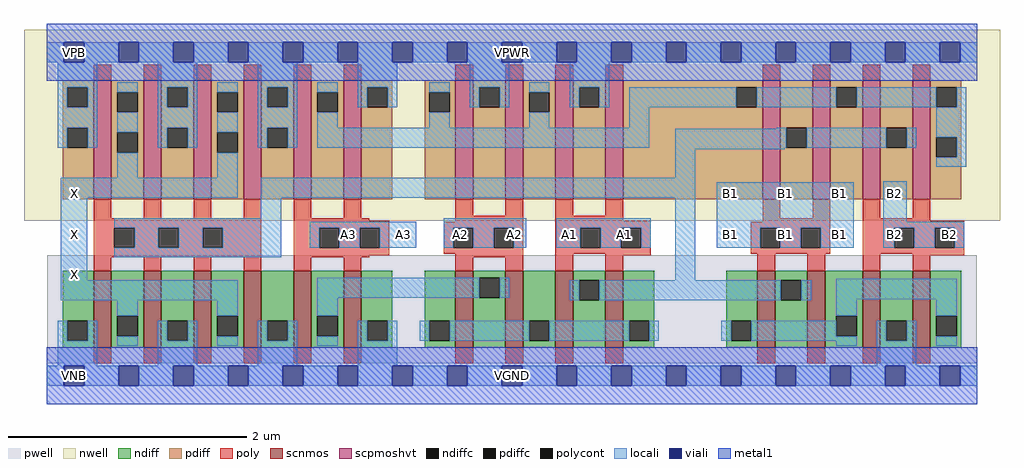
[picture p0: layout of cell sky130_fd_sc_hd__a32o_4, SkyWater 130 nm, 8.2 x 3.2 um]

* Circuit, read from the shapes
.subckt sky130_fd_sc_hd__a32o_4 A1 A2 A3 B1 B2 VGND VNB VPB VPWR X
XM1 X n1 VGND VNB sky130_fd_pr__nfet_01v8 w=0.65 l=0.15 m=4
XM2 n2 A3 VGND VNB sky130_fd_pr__nfet_01v8 w=0.65 l=0.15 m=2
XM3 n2 A2 n3 VNB sky130_fd_pr__nfet_01v8 w=0.65 l=0.15 m=2
XM4 n1 A1 n3 VNB sky130_fd_pr__nfet_01v8 w=0.65 l=0.15 m=2
XM5 n1 B1 n4 VNB sky130_fd_pr__nfet_01v8 w=0.65 l=0.15 m=2
XM6 VGND B2 n4 VNB sky130_fd_pr__nfet_01v8 w=0.65 l=0.15 m=2
XM7 X n1 VPWR VPB sky130_fd_pr__pfet_01v8_hvt w=1 l=0.15 m=4
XM8 n5 A3 VPWR VPB sky130_fd_pr__pfet_01v8_hvt w=1 l=0.15 m=2
XM9 VPWR A2 n5 VPB sky130_fd_pr__pfet_01v8_hvt w=1 l=0.15 m=2
XM10 VPWR A1 n5 VPB sky130_fd_pr__pfet_01v8_hvt w=1 l=0.15 m=2
XM11 n1 B1 n5 VPB sky130_fd_pr__pfet_01v8_hvt w=1 l=0.15 m=2
XM12 n1 B2 n5 VPB sky130_fd_pr__pfet_01v8_hvt w=1 l=0.15 m=2
.ends

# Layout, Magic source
magic
tech sky130A
magscale 1 2
<< nwell >>
rect -38 261 1602 582
<< pwell >>
rect 1 21 1563 203
rect 30 -17 64 21
<< scnmos >>
rect 79 47 109 177
rect 163 47 193 177
rect 247 47 277 177
rect 331 47 361 177
rect 415 47 445 177
rect 499 47 529 177
rect 687 47 717 177
rect 771 47 801 177
rect 855 47 885 177
rect 939 47 969 177
rect 1194 47 1224 177
rect 1278 47 1308 177
rect 1371 47 1401 177
rect 1455 47 1485 177
<< scpmoshvt >>
rect 79 297 109 497
rect 163 297 193 497
rect 247 297 277 497
rect 331 297 361 497
rect 415 297 445 497
rect 499 297 529 497
rect 687 297 717 497
rect 771 297 801 497
rect 855 297 885 497
rect 939 297 969 497
rect 1203 297 1233 497
rect 1287 297 1317 497
rect 1371 297 1401 497
rect 1455 297 1485 497
<< ndiff >>
rect 27 93 79 177
rect 27 59 35 93
rect 69 59 79 93
rect 27 47 79 59
rect 109 101 163 177
rect 109 67 119 101
rect 153 67 163 101
rect 109 47 163 67
rect 193 93 247 177
rect 193 59 203 93
rect 237 59 247 93
rect 193 47 247 59
rect 277 101 331 177
rect 277 67 287 101
rect 321 67 331 101
rect 277 47 331 67
rect 361 93 415 177
rect 361 59 371 93
rect 405 59 415 93
rect 361 47 415 59
rect 445 101 499 177
rect 445 67 455 101
rect 489 67 499 101
rect 445 47 499 67
rect 529 93 581 177
rect 529 59 539 93
rect 573 59 581 93
rect 529 47 581 59
rect 635 93 687 177
rect 635 59 643 93
rect 677 59 687 93
rect 635 47 687 59
rect 717 165 771 177
rect 717 131 727 165
rect 761 131 771 165
rect 717 47 771 131
rect 801 93 855 177
rect 801 59 811 93
rect 845 59 855 93
rect 801 47 855 59
rect 885 161 939 177
rect 885 127 895 161
rect 929 127 939 161
rect 885 47 939 127
rect 969 93 1021 177
rect 969 59 979 93
rect 1013 59 1021 93
rect 969 47 1021 59
rect 1142 93 1194 177
rect 1142 59 1150 93
rect 1184 59 1194 93
rect 1142 47 1194 59
rect 1224 161 1278 177
rect 1224 127 1234 161
rect 1268 127 1278 161
rect 1224 47 1278 127
rect 1308 101 1371 177
rect 1308 67 1327 101
rect 1361 67 1371 101
rect 1308 47 1371 67
rect 1401 93 1455 177
rect 1401 59 1411 93
rect 1445 59 1455 93
rect 1401 47 1455 59
rect 1485 101 1537 177
rect 1485 67 1495 101
rect 1529 67 1537 101
rect 1485 47 1537 67
<< pdiff >>
rect 27 485 79 497
rect 27 451 35 485
rect 69 451 79 485
rect 27 417 79 451
rect 27 383 35 417
rect 69 383 79 417
rect 27 297 79 383
rect 109 477 163 497
rect 109 443 119 477
rect 153 443 163 477
rect 109 409 163 443
rect 109 375 119 409
rect 153 375 163 409
rect 109 297 163 375
rect 193 485 247 497
rect 193 451 203 485
rect 237 451 247 485
rect 193 417 247 451
rect 193 383 203 417
rect 237 383 247 417
rect 193 297 247 383
rect 277 477 331 497
rect 277 443 287 477
rect 321 443 331 477
rect 277 409 331 443
rect 277 375 287 409
rect 321 375 331 409
rect 277 297 331 375
rect 361 485 415 497
rect 361 451 371 485
rect 405 451 415 485
rect 361 417 415 451
rect 361 383 371 417
rect 405 383 415 417
rect 361 297 415 383
rect 445 477 499 497
rect 445 443 455 477
rect 489 443 499 477
rect 445 297 499 443
rect 529 485 581 497
rect 529 451 539 485
rect 573 451 581 485
rect 529 297 581 451
rect 635 477 687 497
rect 635 443 643 477
rect 677 443 687 477
rect 635 297 687 443
rect 717 485 771 497
rect 717 451 727 485
rect 761 451 771 485
rect 717 297 771 451
rect 801 477 855 497
rect 801 443 811 477
rect 845 443 855 477
rect 801 297 855 443
rect 885 485 939 497
rect 885 451 895 485
rect 929 451 939 485
rect 885 297 939 451
rect 969 485 1203 497
rect 969 451 1159 485
rect 1193 451 1203 485
rect 969 297 1203 451
rect 1233 417 1287 497
rect 1233 383 1243 417
rect 1277 383 1287 417
rect 1233 297 1287 383
rect 1317 485 1371 497
rect 1317 451 1327 485
rect 1361 451 1371 485
rect 1317 297 1371 451
rect 1401 417 1455 497
rect 1401 383 1411 417
rect 1445 383 1455 417
rect 1401 297 1455 383
rect 1485 485 1537 497
rect 1485 451 1495 485
rect 1529 451 1537 485
rect 1485 401 1537 451
rect 1485 367 1495 401
rect 1529 367 1537 401
rect 1485 297 1537 367
<< ndiffc >>
rect 35 59 69 93
rect 119 67 153 101
rect 203 59 237 93
rect 287 67 321 101
rect 371 59 405 93
rect 455 67 489 101
rect 539 59 573 93
rect 643 59 677 93
rect 727 131 761 165
rect 811 59 845 93
rect 895 127 929 161
rect 979 59 1013 93
rect 1150 59 1184 93
rect 1234 127 1268 161
rect 1327 67 1361 101
rect 1411 59 1445 93
rect 1495 67 1529 101
<< pdiffc >>
rect 35 451 69 485
rect 35 383 69 417
rect 119 443 153 477
rect 119 375 153 409
rect 203 451 237 485
rect 203 383 237 417
rect 287 443 321 477
rect 287 375 321 409
rect 371 451 405 485
rect 371 383 405 417
rect 455 443 489 477
rect 539 451 573 485
rect 643 443 677 477
rect 727 451 761 485
rect 811 443 845 477
rect 895 451 929 485
rect 1159 451 1193 485
rect 1243 383 1277 417
rect 1327 451 1361 485
rect 1411 383 1445 417
rect 1495 451 1529 485
rect 1495 367 1529 401
<< poly >>
rect 79 497 109 523
rect 163 497 193 523
rect 247 497 277 523
rect 331 497 361 523
rect 415 497 445 523
rect 499 497 529 523
rect 687 497 717 523
rect 771 497 801 523
rect 855 497 885 523
rect 939 497 969 523
rect 1203 497 1233 523
rect 1287 497 1317 523
rect 1371 497 1401 523
rect 1455 497 1485 523
rect 79 265 109 297
rect 163 265 193 297
rect 247 265 277 297
rect 331 265 361 297
rect 79 249 361 265
rect 79 215 114 249
rect 148 215 188 249
rect 222 215 262 249
rect 296 215 361 249
rect 79 199 361 215
rect 79 177 109 199
rect 163 177 193 199
rect 247 177 277 199
rect 331 177 361 199
rect 415 265 445 297
rect 499 265 529 297
rect 687 269 717 297
rect 771 269 801 297
rect 415 261 542 265
rect 415 249 576 261
rect 687 259 801 269
rect 415 215 458 249
rect 492 215 526 249
rect 560 215 576 249
rect 415 203 576 215
rect 667 249 801 259
rect 667 215 683 249
rect 717 215 751 249
rect 785 215 801 249
rect 667 205 801 215
rect 415 199 542 203
rect 687 199 801 205
rect 415 177 445 199
rect 499 177 529 199
rect 687 177 717 199
rect 771 177 801 199
rect 855 269 885 297
rect 939 269 969 297
rect 855 261 969 269
rect 1203 265 1233 297
rect 1287 265 1317 297
rect 855 249 1015 261
rect 1203 259 1317 265
rect 855 215 897 249
rect 931 215 965 249
rect 999 215 1015 249
rect 855 205 1015 215
rect 1183 249 1317 259
rect 1183 215 1199 249
rect 1233 215 1267 249
rect 1301 215 1317 249
rect 1183 205 1317 215
rect 1371 265 1401 297
rect 1455 265 1485 297
rect 1371 261 1485 265
rect 1371 249 1542 261
rect 1371 215 1424 249
rect 1458 215 1492 249
rect 1526 215 1542 249
rect 1371 205 1542 215
rect 855 177 885 205
rect 939 203 1015 205
rect 939 177 969 203
rect 1194 177 1224 205
rect 1278 177 1308 205
rect 1371 177 1401 205
rect 1455 203 1542 205
rect 1455 177 1485 203
rect 79 21 109 47
rect 163 21 193 47
rect 247 21 277 47
rect 331 21 361 47
rect 415 21 445 47
rect 499 21 529 47
rect 687 21 717 47
rect 771 21 801 47
rect 855 21 885 47
rect 939 21 969 47
rect 1194 21 1224 47
rect 1278 21 1308 47
rect 1371 21 1401 47
rect 1455 21 1485 47
<< polycont >>
rect 114 215 148 249
rect 188 215 222 249
rect 262 215 296 249
rect 458 215 492 249
rect 526 215 560 249
rect 683 215 717 249
rect 751 215 785 249
rect 897 215 931 249
rect 965 215 999 249
rect 1199 215 1233 249
rect 1267 215 1301 249
rect 1424 215 1458 249
rect 1492 215 1526 249
<< locali >>
rect 0 527 29 561
rect 63 527 121 561
rect 155 527 213 561
rect 247 527 305 561
rect 339 527 397 561
rect 431 527 489 561
rect 523 527 581 561
rect 615 527 673 561
rect 707 527 765 561
rect 799 527 857 561
rect 891 527 949 561
rect 983 527 1041 561
rect 1075 527 1133 561
rect 1167 527 1225 561
rect 1259 527 1317 561
rect 1351 527 1409 561
rect 1443 527 1501 561
rect 1535 527 1564 561
rect 19 485 85 527
rect 19 451 35 485
rect 69 451 85 485
rect 19 417 85 451
rect 19 383 35 417
rect 69 383 85 417
rect 119 477 153 493
rect 119 409 153 443
rect 187 485 253 527
rect 187 451 203 485
rect 237 451 253 485
rect 187 417 253 451
rect 187 383 203 417
rect 237 383 253 417
rect 287 477 321 493
rect 287 409 321 443
rect 119 333 153 375
rect 355 485 421 527
rect 355 451 371 485
rect 405 451 421 485
rect 355 417 421 451
rect 355 383 371 417
rect 405 383 421 417
rect 455 477 489 493
rect 523 485 589 527
rect 523 451 539 485
rect 573 451 589 485
rect 643 477 677 493
rect 455 417 489 443
rect 711 485 777 527
rect 711 451 727 485
rect 761 451 777 485
rect 811 477 845 493
rect 643 417 677 443
rect 879 485 945 527
rect 879 451 895 485
rect 929 451 945 485
rect 979 451 1159 485
rect 1193 451 1327 485
rect 1361 451 1495 485
rect 1529 451 1545 485
rect 811 417 845 443
rect 979 417 1013 451
rect 455 383 1013 417
rect 1227 415 1243 417
rect 1056 383 1243 415
rect 1277 383 1411 417
rect 1445 383 1461 417
rect 1495 401 1545 451
rect 287 333 321 375
rect 1056 381 1240 383
rect 1056 333 1090 381
rect 1529 367 1545 401
rect 1495 351 1545 367
rect 24 299 321 333
rect 360 299 1090 333
rect 24 161 68 299
rect 360 265 394 299
rect 114 249 394 265
rect 148 215 188 249
rect 222 215 262 249
rect 296 215 394 249
rect 442 249 621 259
rect 442 215 458 249
rect 492 215 526 249
rect 560 215 621 249
rect 667 249 806 265
rect 667 215 683 249
rect 717 215 751 249
rect 785 215 806 249
rect 856 249 1015 265
rect 856 215 897 249
rect 931 215 965 249
rect 999 215 1015 249
rect 114 199 394 215
rect 24 127 321 161
rect 119 101 153 127
rect 19 59 35 93
rect 69 59 85 93
rect 19 17 85 59
rect 287 101 321 127
rect 119 51 153 67
rect 187 59 203 93
rect 237 59 253 93
rect 187 17 253 59
rect 455 131 727 165
rect 761 131 777 165
rect 1056 161 1090 299
rect 1126 249 1356 325
rect 1126 215 1199 249
rect 1233 215 1267 249
rect 1301 215 1356 249
rect 1406 259 1445 327
rect 1406 249 1542 259
rect 1406 215 1424 249
rect 1458 215 1492 249
rect 1526 215 1542 249
rect 455 101 489 131
rect 879 127 895 161
rect 929 127 1234 161
rect 1268 127 1285 161
rect 1327 129 1529 163
rect 287 51 321 67
rect 355 59 371 93
rect 405 59 421 93
rect 355 17 421 59
rect 1327 101 1361 129
rect 455 51 489 67
rect 523 59 539 93
rect 573 59 589 93
rect 627 59 643 93
rect 677 59 811 93
rect 845 59 979 93
rect 1013 59 1029 93
rect 1134 59 1150 93
rect 1184 67 1327 93
rect 1495 101 1529 129
rect 1184 59 1361 67
rect 523 17 589 59
rect 1327 51 1361 59
rect 1395 59 1411 93
rect 1445 59 1461 93
rect 1395 17 1461 59
rect 1495 51 1529 67
rect 0 -17 29 17
rect 63 -17 121 17
rect 155 -17 213 17
rect 247 -17 305 17
rect 339 -17 397 17
rect 431 -17 489 17
rect 523 -17 581 17
rect 615 -17 673 17
rect 707 -17 765 17
rect 799 -17 857 17
rect 891 -17 949 17
rect 983 -17 1041 17
rect 1075 -17 1133 17
rect 1167 -17 1225 17
rect 1259 -17 1317 17
rect 1351 -17 1409 17
rect 1443 -17 1501 17
rect 1535 -17 1564 17
<< viali >>
rect 29 527 63 561
rect 121 527 155 561
rect 213 527 247 561
rect 305 527 339 561
rect 397 527 431 561
rect 489 527 523 561
rect 581 527 615 561
rect 673 527 707 561
rect 765 527 799 561
rect 857 527 891 561
rect 949 527 983 561
rect 1041 527 1075 561
rect 1133 527 1167 561
rect 1225 527 1259 561
rect 1317 527 1351 561
rect 1409 527 1443 561
rect 1501 527 1535 561
rect 29 -17 63 17
rect 121 -17 155 17
rect 213 -17 247 17
rect 305 -17 339 17
rect 397 -17 431 17
rect 489 -17 523 17
rect 581 -17 615 17
rect 673 -17 707 17
rect 765 -17 799 17
rect 857 -17 891 17
rect 949 -17 983 17
rect 1041 -17 1075 17
rect 1133 -17 1167 17
rect 1225 -17 1259 17
rect 1317 -17 1351 17
rect 1409 -17 1443 17
rect 1501 -17 1535 17
<< metal1 >>
rect 0 561 1564 592
rect 0 527 29 561
rect 63 527 121 561
rect 155 527 213 561
rect 247 527 305 561
rect 339 527 397 561
rect 431 527 489 561
rect 523 527 581 561
rect 615 527 673 561
rect 707 527 765 561
rect 799 527 857 561
rect 891 527 949 561
rect 983 527 1041 561
rect 1075 527 1133 561
rect 1167 527 1225 561
rect 1259 527 1317 561
rect 1351 527 1409 561
rect 1443 527 1501 561
rect 1535 527 1564 561
rect 0 496 1564 527
rect 0 17 1564 48
rect 0 -17 29 17
rect 63 -17 121 17
rect 155 -17 213 17
rect 247 -17 305 17
rect 339 -17 397 17
rect 431 -17 489 17
rect 523 -17 581 17
rect 615 -17 673 17
rect 707 -17 765 17
rect 799 -17 857 17
rect 891 -17 949 17
rect 983 -17 1041 17
rect 1075 -17 1133 17
rect 1167 -17 1225 17
rect 1259 -17 1317 17
rect 1351 -17 1409 17
rect 1443 -17 1501 17
rect 1535 -17 1564 17
rect 0 -48 1564 -17
<< labels >>
flabel locali s 490 221 524 255 0 FreeSans 200 0 0 0 A3
port 3 nsew signal input
flabel locali s 30 221 64 255 0 FreeSans 200 0 0 0 X
port 10 nsew signal output
flabel locali s 30 289 64 323 0 FreeSans 200 0 0 0 X
port 10 nsew signal output
flabel locali s 678 221 712 255 0 FreeSans 200 0 0 0 A2
port 2 nsew signal input
flabel locali s 30 153 64 187 0 FreeSans 200 0 0 0 X
port 10 nsew signal output
flabel locali s 1224 289 1258 323 0 FreeSans 200 0 0 0 B1
port 4 nsew signal input
flabel locali s 1132 289 1166 323 0 FreeSans 200 0 0 0 B1
port 4 nsew signal input
flabel locali s 1132 221 1166 255 0 FreeSans 200 0 0 0 B1
port 4 nsew signal input
flabel locali s 1500 221 1534 255 0 FreeSans 200 0 0 0 B2
port 5 nsew signal input
flabel locali s 1316 289 1350 323 0 FreeSans 200 0 0 0 B1
port 4 nsew signal input
flabel locali s 862 221 896 255 0 FreeSans 200 0 0 0 A1
port 1 nsew signal input
flabel locali s 1316 221 1350 255 0 FreeSans 200 0 0 0 B1
port 4 nsew signal input
flabel locali s 1224 221 1258 255 0 FreeSans 200 0 0 0 B1
port 4 nsew signal input
flabel locali s 1408 289 1442 323 0 FreeSans 200 0 0 0 B2
port 5 nsew signal input
flabel locali s 1408 221 1442 255 0 FreeSans 200 0 0 0 B2
port 5 nsew signal input
flabel locali s 770 221 804 255 0 FreeSans 200 0 0 0 A2
port 2 nsew signal input
flabel locali s 582 221 616 255 0 FreeSans 200 0 0 0 A3
port 3 nsew signal input
flabel locali s 954 221 988 255 0 FreeSans 200 0 0 0 A1
port 1 nsew signal input
flabel pwell s 30 -17 64 17 0 FreeSans 200 0 0 0 VNB
port 7 nsew ground bidirectional
flabel nwell s 30 527 64 561 0 FreeSans 200 0 0 0 VPB
port 8 nsew power bidirectional
flabel metal1 s 30 -17 64 17 0 FreeSans 200 0 0 0 VGND
port 6 nsew ground bidirectional abutment
flabel metal1 s 30 527 64 561 0 FreeSans 200 0 0 0 VPWR
port 9 nsew power bidirectional abutment
rlabel comment s 0 0 0 0 4 a32o_4
rlabel metal1 s 0 -48 1564 48 1 VGND
port 6 nsew ground bidirectional abutment
rlabel metal1 s 0 496 1564 592 1 VPWR
port 9 nsew power bidirectional abutment
<< properties >>
string FIXED_BBOX 0 0 1564 544
string GDS_END 4177406
string GDS_FILE $PDKPATH/libs.ref/sky130_fd_sc_hd/gds/sky130_fd_sc_hd.gds
string GDS_START 4165270
string LEFclass CORE
string LEFsite unithd
string LEFsymmetry X Y R90
string path 0.000 0.000 39.100 0.000 
<< end >>
